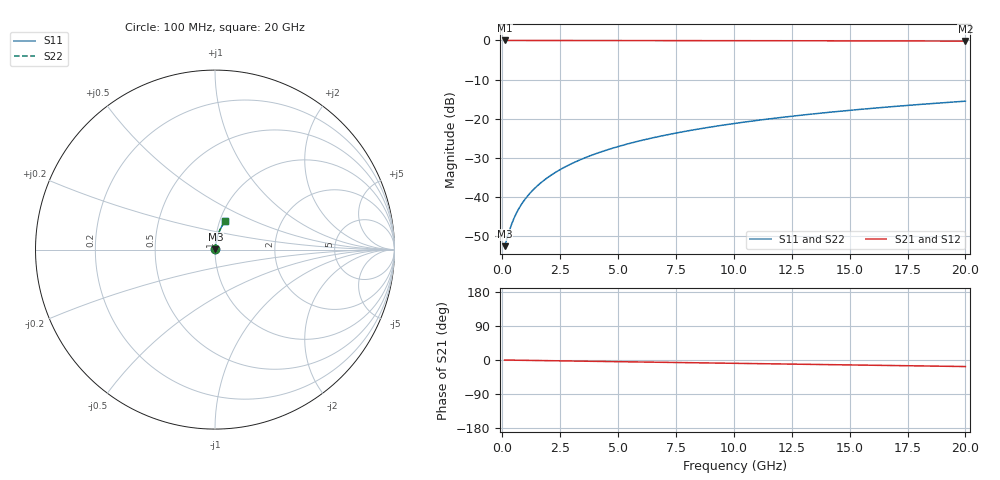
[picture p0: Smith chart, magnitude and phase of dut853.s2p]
! Touchstone file exported from HFSS 2026.1.0
!  File:  C:/ffzhzh/LocalFiles/Ansys_Project_Files/temp_train_TMRDL_853_1783157015_51560.aedt
!  Generated:  05:24:48 PM Jul  4, 2026
!  Design:  TMRDL
!  Project:  temp_train_TMRDL_853_1783157015_51560
! Variables:
!  h_bsmrdl = 2um
!  h_ox = 20um
!  h_rdl = 5um
!  h_sub = 80um
!  h_tmrdl = 2.55um
!  h_tsv = 80um
!  h_via = 3um
!  l_bsmrdl = 300um
!  l_sub = 630.08um
!  l_tmrdl = 230.08um
!  m_sub = 200um
!  pitch = 34.77um
!  r_tsv = 6um
!  s_tmrdl = 10um
!  w_bsmrdl = 18um
!  w_sub = 500um
!  w_tmrdl = 17.21um
!  x_tsv_center1 = 238.685um
!  x_tsv_center2 = 556.685um
!  x_tsv_center3 = 803.975um
!  x_tsv_center4 = 1121.975um
!  x_tsv_center5 = 1369.265um
!  x_tsv_center6 = 1687.265um
# GHz S MA R 50.000000
! Terminal data exported
! Port[1] = TM_RDL1_1_T1
! Port[2] = TM_RDL1_1_T2
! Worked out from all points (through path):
!   200 points, 100 MHz to 20 GHz, reference 50 ohm
!   highest |S21| = -0.02 dB at 100 MHz (marker M1); lowest = -0.2 dB at 20 GHz (marker M2)
!   group delay of S21, straight-line fit = 2.4 ps
!   lowest |S11| = -52.6 dB at 100 MHz (marker M3), VSWR 1.00, Z = 50.2 + j0.0979 ohm
!   |S11| at or under -10 dB: start of sweep to end of sweep
!   |S22| runs from -52.6 to -15.5 dB; largest |S21 - S12| = 2.7e-15
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0.1  0.002343 24.6  0.9979 -0.1  0.9979 -0.1  0.002343 24.6
! Gamma 0 0 0 0
! Port Impedance 50 0 50 0
0.3  0.00365 52.2  0.9978 -0.3  0.9978 -0.3  0.00365 52.2
0.4  0.004454 58.7  0.9977 -0.4  0.9977 -0.4  0.004454 58.7
0.5  0.005282 63.1  0.9976 -0.5  0.9976 -0.5  0.005282 63.1
0.6  0.006118 66.2  0.9976 -0.5  0.9976 -0.5  0.006118 66.2
0.7  0.006957 68.6  0.9975 -0.6  0.9975 -0.6  0.006957 68.6
0.9  0.008638 72.0  0.9974 -0.8  0.9974 -0.8  0.008638 72.0
1.2  0.01117 75.2  0.9973 -1.1  0.9973 -1.1  0.01117 75.2
1.4  0.01287 76.7  0.9972 -1.3  0.9972 -1.3  0.01287 76.7
1.7  0.01543 78.2  0.9972 -1.5  0.9972 -1.5  0.01543 78.2
2.2  0.01973 79.8  0.997 -2.0  0.997 -2.0  0.01973 79.8
2.8  0.02491 80.8  0.9968 -2.5  0.9968 -2.5  0.02491 80.8
3.5  0.03097 81.4  0.9965 -3.1  0.9965 -3.1  0.03097 81.4
4.2  0.03703 81.5  0.9962 -3.7  0.9962 -3.7  0.03703 81.5
5  0.04395 81.4  0.9958 -4.4  0.9958 -4.4  0.04395 81.4
5.9  0.0517 81.0  0.9953 -5.2  0.9953 -5.2  0.0517 81.0
6.8  0.05942 80.6  0.9947 -6.0  0.9947 -6.0  0.05942 80.6
8.3  0.0722 79.6  0.9935 -7.3  0.9935 -7.3  0.0722 79.6
10.1  0.08737 78.3  0.9919 -8.9  0.9919 -8.9  0.08737 78.3
13.4  0.1147 75.8  0.9883 -11.7  0.9883 -11.7  0.1147 75.8
16.7  0.1413 73.1  0.9842 -14.5  0.9842 -14.5  0.1413 73.1
20  0.1671 70.5  0.9795 -17.3  0.9795 -17.3  0.1671 70.5
